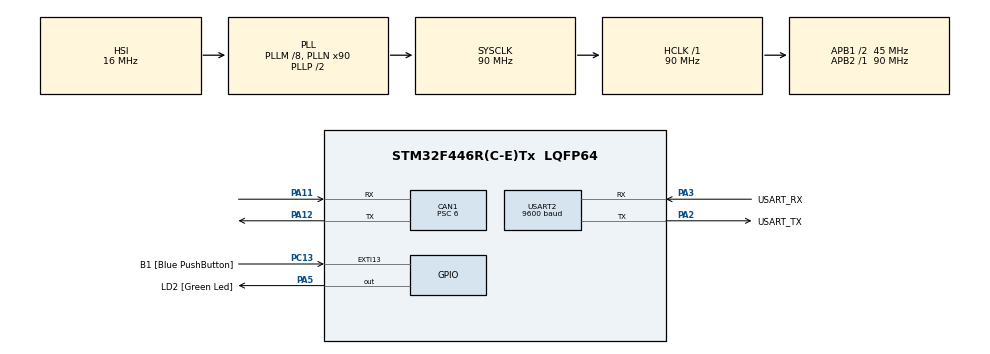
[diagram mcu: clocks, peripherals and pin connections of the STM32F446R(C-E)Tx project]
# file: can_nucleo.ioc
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CAN1.BS1=CAN_BS1_11TQ
CAN1.BS2=CAN_BS2_3TQ
CAN1.CalculateBaudRate=500000
CAN1.CalculateTimeBit=2000
CAN1.CalculateTimeQuantum=133.33333333333331
CAN1.Mode=CAN_MODE_NORMAL
CAN1.NART=ENABLE
CAN1.Prescaler=6
Dma.Request0=USART2_RX
Dma.USART2_RX.0.Direction=DMA_PERIPH_TO_MEMORY
Dma.USART2_RX.0.FIFOMode=DMA_FIFOMODE_DISABLE
Dma.USART2_RX.0.Instance=DMA1_Stream5
Dma.USART2_RX.0.MemDataAlignment=DMA_MDATAALIGN_BYTE
Dma.USART2_RX.0.MemInc=DMA_MINC_ENABLE
Dma.USART2_RX.0.Mode=DMA_NORMAL
Dma.USART2_RX.0.PeriphDataAlignment=DMA_PDATAALIGN_BYTE
Dma.USART2_RX.0.PeriphInc=DMA_PINC_DISABLE
Dma.USART2_RX.0.Priority=DMA_PRIORITY_LOW
Mcu.Family=STM32F4
Mcu.Name=STM32F446R(C-E)Tx
Mcu.Package=LQFP64
NVIC.CAN1_RX0_IRQn=true\:0\:0\:false\:false\:true\:true\:true\:true
NVIC.CAN1_RX1_IRQn=true\:0\:0\:false\:false\:true\:true\:true\:true
NVIC.DMA1_Stream5_IRQn=true\:0\:0\:false\:false\:true\:false\:true\:true
NVIC.PriorityGroup=NVIC_PRIORITYGROUP_0
NVIC.USART2_IRQn=true\:0\:0\:false\:false\:true\:true\:true\:true
PA11.Mode=CAN_Activate
PA11.Signal=CAN1_RX
PA12.Mode=CAN_Activate
PA12.Signal=CAN1_TX
PA13.GPIO_Label=TMS
PA13.Mode=Serial_Wire
PA13.Signal=SYS_JTMS-SWDIO
PA14.GPIO_Label=TCK
PA14.Mode=Serial_Wire
PA14.Signal=SYS_JTCK-SWCLK
PA2.GPIO_Label=USART_TX
PA2.Mode=Asynchronous
PA2.Signal=USART2_TX
PA3.GPIO_Label=USART_RX
PA3.Mode=Asynchronous
PA3.Signal=USART2_RX
PA5.GPIO_Label=LD2 [Green Led]
PA5.Signal=GPIO_Output
PB3.GPIO_Label=SWO
PB3.Signal=SYS_JTDO-SWO
PC13.GPIO_Label=B1 [Blue PushButton]
PC13.GPIO_ModeDefaultEXTI=GPIO_MODE_IT_FALLING
PC13.Signal=GPXTI13
PC14-OSC32_IN.Mode=LSE-External-Oscillator
PC14-OSC32_IN.Signal=RCC_OSC32_IN
PC15-OSC32_OUT.Mode=LSE-External-Oscillator
PC15-OSC32_OUT.Signal=RCC_OSC32_OUT
PH0-OSC_IN.Mode=HSE-External-Oscillator
PH0-OSC_IN.Signal=RCC_OSC_IN
PH1-OSC_OUT.Mode=HSE-External-Oscillator
PH1-OSC_OUT.Signal=RCC_OSC_OUT
ProjectManager.HeapSize=0x200
ProjectManager.StackSize=0x400
ProjectManager.TargetToolchain=STM32CubeIDE
RCC.48MHZClocksFreq_Value=84000000
RCC.AHBFreq_Value=90000000
RCC.APB1CLKDivider=RCC_HCLK_DIV2
RCC.APB1Freq_Value=45000000
RCC.APB1TimFreq_Value=90000000
RCC.APB2Freq_Value=90000000
RCC.APB2TimFreq_Value=90000000
RCC.CortexFreq_Value=90000000
RCC.FLatency-AdvancedSettings=FLASH_LATENCY_2
RCC.HCLKFreq_Value=90000000
RCC.HSE_VALUE=8000000
RCC.HSI_VALUE=16000000
RCC.PLLM=8
RCC.PLLN=90
RCC.SYSCLKFreq_VALUE=90000000
RCC.SYSCLKSource=RCC_SYSCLKSOURCE_PLLCLK
RCC.USBFreq_Value=90000000
RCC.VCOOutputFreq_Value=180000000
USART2.BaudRate=9600
USART2.VirtualMode=VM_ASYNC
board=NUCLEO-F446RE

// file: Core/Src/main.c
/* USER CODE BEGIN Header */
/**
  ******************************************************************************
  * @file           : main.c
  * @brief          : Main program body
  ******************************************************************************
  * @attention
  *
  * Copyright (c) 2025 STMicroelectronics.
  * All rights reserved.
  *
  * This software is licensed under terms that can be found in the LICENSE file
  * in the root directory of this software component.
  * If no LICENSE file comes with this software, it is provided AS-IS.
  *
  ******************************************************************************
  */
/* USER CODE END Header */
#include "main.h"

/* USER CODE BEGIN Includes */
#include <string.h>
#include <stdbool.h>

#define CMD_TOKEN 0x42
#define CMD_VER   0x01

/* USER CODE END Includes */

/* USER CODE BEGIN PD */
#define DMA_RX_BUFFER_SIZE 256
#define GPS_PROCESS_BUFFER_SIZE 256
/* USER CODE END PD */

CAN_HandleTypeDef hcan1;

UART_HandleTypeDef huart2;
DMA_HandleTypeDef hdma_usart2_rx;

/* USER CODE BEGIN PV */
uint8_t g_dma_rx_buffer[DMA_RX_BUFFER_SIZE];
uint8_t g_gps_process_buffer[GPS_PROCESS_BUFFER_SIZE];
volatile uint8_t g_gps_data_ready = 0;
volatile uint16_t g_gps_data_size = 0;

int32_t lat_e5 = 0; // Широта * 100000
int32_t lon_e5 = 0; // Довгота * 100000
uint8_t sats_view = 0;
uint8_t fix_status = 0;
/* USER CODE END PV */

void SystemClock_Config(void);
static void MX_GPIO_Init(void);
static void MX_DMA_Init(void);
static void MX_USART2_UART_Init(void);
static void MX_CAN1_Init(void);

/* USER CODE BEGIN 0 */
//CAN_TxHeaderTypeDef TxHeader;
//CAN_RxHeaderTypeDef RxHeader;
//
//uint32_t TxMailbox[4];
//
//uint8_t TxData[8];
//uint8_t RxData[8];
//
uint8_t count = 0;

// TX буфери
CAN_TxHeaderTypeDef A_TxHeader;
CAN_RxHeaderTypeDef A_RxHeader;
uint32_t A_TxMailbox;
uint8_t  A_TxData[8];
uint8_t A_RxData[8];

// “GPS”

uint32_t tick_tlm  = 0;
uint32_t tick_hb   = 0;
uint32_t tick_cmd  = 0;

static uint8_t cmd_seq = 0;

uint8_t crc8(const uint8_t *data, uint8_t len)
{
    uint8_t crc = 0x00;
    const uint8_t poly = 0x07; // x^8 + x^2 + x + 1

    for (uint8_t i = 0; i < len; i++)
    {
        crc ^= data[i];
        for (uint8_t b = 0; b < 8; b++)
        {
            if (crc & 0x80)
                crc = (crc << 1) ^ poly;
            else
                crc <<= 1;
        }
    }
    return crc;
}

void A_Send_TLM120(void)
{
    uint32_t lat24 = ((uint32_t)lat_e5) & 0xFFFFFF;
    uint32_t lon24 = ((uint32_t)lon_e5) & 0xFFFFFF;

    A_TxHeader.StdId = 0x120;
    A_TxHeader.ExtId = 0;
    A_TxHeader.IDE   = CAN_ID_STD;
    A_TxHeader.RTR   = CAN_RTR_DATA;
    A_TxHeader.DLC   = 8;
    A_TxHeader.TransmitGlobalTime = DISABLE;

    A_TxData[0] = (lat24 >> 16) & 0xFF;
    A_TxData[1] = (lat24 >> 8) & 0xFF;
    A_TxData[2] = (lat24) & 0xFF;

    A_TxData[3] = (lon24 >> 16) & 0xFF;
    A_TxData[4] = (lon24 >> 8) & 0xFF;
    A_TxData[5] = (lon24) & 0xFF;

    A_TxData[6] = sats_view;
    A_TxData[7] = fix_status;

    HAL_CAN_AddTxMessage(&hcan1, &A_TxHeader, A_TxData, &A_TxMailbox);
}

// HB A: 0x081 (1 байт статусу)
void A_Send_HB081(void)
{
    A_TxHeader.StdId = 0x081;
    A_TxHeader.ExtId = 0;
    A_TxHeader.IDE   = CAN_ID_STD;
    A_TxHeader.RTR   = CAN_RTR_DATA;
    A_TxHeader.DLC   = 1;
    A_TxHeader.TransmitGlobalTime = DISABLE;

    A_TxData[0] = 0xA1;

    HAL_CAN_AddTxMessage(&hcan1, &A_TxHeader, A_TxData, &A_TxMailbox);
}

// НОРМАЛЬНА команда 0x040 з валідним CRC/Token
void A_Send_CMD_Normal(uint8_t cmd_id, uint8_t arg0, uint8_t arg1, uint8_t arg2)
{
    A_TxHeader.StdId = 0x040;
    A_TxHeader.ExtId = 0;
    A_TxHeader.IDE   = CAN_ID_STD;
    A_TxHeader.RTR   = CAN_RTR_DATA;
    A_TxHeader.DLC   = 8;
    A_TxHeader.TransmitGlobalTime = DISABLE;

    A_TxData[0] = cmd_id;
    A_TxData[1] = arg0;
    A_TxData[2] = arg1;
    A_TxData[3] = arg2;
    A_TxData[4] = CMD_TOKEN;
    A_TxData[5] = cmd_seq;
    A_TxData[7] = CMD_VER;

    uint8_t tmp[7];
    memcpy(tmp, A_TxData, 6); // 0..5
    tmp[6] = A_TxData[7];     // Ver
    A_TxData[6] = crc8(tmp, 7);

    HAL_CAN_AddTxMessage(&hcan1, &A_TxHeader, A_TxData, &A_TxMailbox);

    cmd_seq++;
}

// ФАЛЬШИВА команда (поганий Token/CRC) – для Red-team тесту
void A_Send_CMD_Fake(void)
{
    A_TxHeader.StdId = 0x040;
    A_TxHeader.ExtId = 0;
    A_TxHeader.IDE   = CAN_ID_STD;
    A_TxHeader.RTR   = CAN_RTR_DATA;
    A_TxHeader.DLC   = 8;
    A_TxHeader.TransmitGlobalTime = DISABLE;

    A_TxData[0] = 0x10;
    A_TxData[1] = 0xAA;
    A_TxData[2] = 0xBB;
    A_TxData[3] = 0xCC;
    A_TxData[4] = 0x99;    // неправильний Token
    A_TxData[5] = cmd_seq;
    A_TxData[7] = CMD_VER;
    A_TxData[6] = 0x00;    // спеціально кривий CRC

    HAL_CAN_AddTxMessage(&hcan1, &A_TxHeader, A_TxData, &A_TxMailbox);

    cmd_seq++;
}

void HAL_CAN_RxFifo0MsgPendingCallback(CAN_HandleTypeDef *hcan)
{
	HAL_CAN_GetRxMessage(hcan, CAN_RX_FIFO0, &A_RxHeader, A_RxData);
	count++;
    HAL_GPIO_TogglePin(LD2_GPIO_Port, LD2_Pin);
}
/* USER CODE END 0 */

int main(void)
{

  /* MCU Configuration--------------------------------------------------------*/

  /* Reset of all peripherals, Initializes the Flash interface and the Systick. */
  HAL_Init();

  /* Configure the system clock */
  SystemClock_Config();

  /* Initialize all configured peripherals */
  MX_GPIO_Init();
  MX_DMA_Init();
  MX_USART2_UART_Init();
  MX_CAN1_Init();
  /* USER CODE BEGIN 2 */
  if(HAL_UARTEx_ReceiveToIdle_DMA(&huart2, g_dma_rx_buffer, DMA_RX_BUFFER_SIZE) != HAL_OK) {
	  Error_Handler();
  }
  __HAL_DMA_DISABLE_IT(huart2.hdmarx, DMA_IT_HT);
//  __HAL_CAN_CLEAR_FLAG(&hcan1, CAN_FLAG_WKU);
  if (HAL_CAN_Start(&hcan1) != HAL_OK) {
      Error_Handler();
  }
//  HAL_CAN_ActivateNotification(&hcan1, CAN_IT_RX_FIFO0_MSG_PENDING);
//  	TxHeader.DLC = 1; // 1 байт даних
//    TxHeader.ExtId = 0;
//    TxHeader.IDE = CAN_ID_STD;
//    TxHeader.RTR = CAN_RTR_DATA;
//    TxHeader.TransmitGlobalTime = DISABLE;
//
//    TxData[0] = 0xAA; // Тестові дані

//  TxHeader.DLC = 8; // Згідно з док. 8 байт (CmdID|...|CRC8) [cite: 22, 25]
//    TxHeader.ExtId = 0;
//    TxHeader.IDE = CAN_ID_STD;
//    TxHeader.RTR = CAN_RTR_DATA;
//    TxHeader.StdId = 0x040; // ID для CMD (Команди)
//    TxHeader.TransmitGlobalTime = DISABLE;
//
//    // "Фейкові" дані команди [cite: 25]
//    TxData[0] = 0x01; // CmdID
//    TxData[1] = 0x0A; // Arg0
//    TxData[2] = 0x0B; // Arg1
//    TxData[3] = 0x0C; // Arg2
//    TxData[4] = 0x44; // Token
//    TxData[5] = 0x01; // Seq
//    TxData[6] = 0xAB; // CRC8
//    TxData[7] = 0x01; // Ver
//  TxHeader.DLC = 1;
//  TxHeader.ExtId = 0;
//  TxHeader.IDE = CAN_ID_STD;
//  TxHeader.RTR = CAN_RTR_DATA;
//  TxHeader.StdId = 0x111;
//  TxHeader.TransmitGlobalTime = DISABLE;
//
//  TxData[0] = 0x01;
//  TxData[1] = 0x02;
//  TxData[2] = 0x03;
//  TxData[3] = 0x04;
//
//  if (HAL_CAN_AddTxMessage(&hcan1, &TxHeader, &TxData[0], &TxMailbox[0]) != HAL_OK)
//  {
//	  Error_Handler();
//  }
//  if (HAL_CAN_AddTxMessage(&hcan1, &TxHeader, &TxData[1], &TxMailbox[1]) != HAL_OK)
//  {
//	  Error_Handler();
//  }
//  if (HAL_CAN_AddTxMessage(&hcan1, &TxHeader, &TxData[2], &TxMailbox[2]) != HAL_OK)
//  {
//	  Error_Handler();
//  }
//  if (HAL_CAN_AddTxMessage(&hcan1, &TxHeader, &TxData[3], &TxMailbox[3]) != HAL_OK)
//  {
//	  Error_Handler();
//  }

  /* USER CODE END 2 */

  /* Infinite loop */
  while (1)
  {

    /* USER CODE BEGIN 3 */
	  if (g_gps_data_ready) {
	          char* line = strtok((char*)g_gps_process_buffer, "\r\n");

	          while (line != NULL)
	          {
	              // Шукаємо рядки GNGGA або GPGGA
	              if (strncmp(line, "$GNGGA", 6) == 0 || strncmp(line, "$GPGGA", 6) == 0) {
	                  float nmea_time, nmea_lat, nmea_lon, altitude;
	                  char lat_dir, lon_dir;
	                  int fix_quality, num_sats;

	                  // Знаходимо початок даних (після коми)
	                  const char* data_start = strchr(line, ',');
	                  if (data_start) {
	                      // Парсимо рядок
	                      int items = sscanf(data_start + 1, "%f,%f,%c,%f,%c,%d,%d,%*f,%f,",
	                                         &nmea_time, &nmea_lat, &lat_dir, &nmea_lon, &lon_dir,
	                                         &fix_quality, &num_sats, &altitude);

	                      if (items >= 7 && fix_quality > 0) {
	                          // 1. Конвертуємо координати з формату NMEA (ddmm.mmmm) в десяткові градуси (dd.ddddd)
	                          int lat_deg_int = (int)(nmea_lat / 100);
	                          float lat_min = nmea_lat - (lat_deg_int * 100);
	                          float lat_decimal = lat_deg_int + (lat_min / 60.0f);
	                          if (lat_dir == 'S') lat_decimal = -lat_decimal;

	                          int lon_deg_int = (int)(nmea_lon / 100);
	                          float lon_min = nmea_lon - (lon_deg_int * 100);
	                          float lon_decimal = lon_deg_int + (lon_min / 60.0f);
	                          if (lon_dir == 'W') lon_decimal = -lon_decimal;

	                          // 2. Оновлюємо глобальні змінні для CAN (формат: * 100000)
	                          lat_e5 = (int32_t)(lat_decimal * 100000.0f);
	                          lon_e5 = (int32_t)(lon_decimal * 100000.0f);
	                          sats_view = (uint8_t)num_sats;
	                          fix_status = (uint8_t)fix_quality; // 1 = GPS fix, 2 = DGPS fix
	                      } else {
	                           // Якщо фіксу немає, можна слати нулі або статус помилки
	                           fix_status = 0;
	                      }
	                  }
	              }
	              line = strtok(NULL, "\r\n"); // Наступний рядок
	          }
	          g_gps_data_ready = 0;
	      }
	  uint32_t now = HAL_GetTick();

	  // 10 Гц – 0x120
	  if (now - tick_tlm >= 10)
	  {
	      tick_tlm += 100;          // стабільніший період, ніж tick_tlm = now;
	      A_Send_TLM120();
	  }

	  // 1 Гц – HB 0x081
	  if (now - tick_hb >= 1000)
	  {
	      tick_hb += 1000;
	      A_Send_HB081();
	  }

	  // ~раз на 2.7 с – CMD (не кратно 1000, щоб фази “плавали”)
	  if (now - tick_cmd >= 2700)
	  {
	      tick_cmd += 2700;
//	      A_Send_CMD_Normal(0x10, 1, 2, 3);
	      A_Send_CMD_Fake();
	      // або A_Send_CMD_Fake();
	  }
  }
  /* USER CODE END 3 */
}

void SystemClock_Config(void)
{
  RCC_OscInitTypeDef RCC_OscInitStruct = {0};
  RCC_ClkInitTypeDef RCC_ClkInitStruct = {0};

  /** Configure the main internal regulator output voltage
  */
  __HAL_RCC_PWR_CLK_ENABLE();
  __HAL_PWR_VOLTAGESCALING_CONFIG(PWR_REGULATOR_VOLTAGE_SCALE3);

  /** Initializes the RCC Oscillators according to the specified parameters
  * in the RCC_OscInitTypeDef structure.
  */
  RCC_OscInitStruct.OscillatorType = RCC_OSCILLATORTYPE_HSI;
  RCC_OscInitStruct.HSIState = RCC_HSI_ON;
  RCC_OscInitStruct.HSICalibrationValue = RCC_HSICALIBRATION_DEFAULT;
  RCC_OscInitStruct.PLL.PLLState = RCC_PLL_ON;
  RCC_OscInitStruct.PLL.PLLSource = RCC_PLLSOURCE_HSI;
  RCC_OscInitStruct.PLL.PLLM = 8;
  RCC_OscInitStruct.PLL.PLLN = 90;
  RCC_OscInitStruct.PLL.PLLP = RCC_PLLP_DIV2;
  RCC_OscInitStruct.PLL.PLLQ = 2;
  RCC_OscInitStruct.PLL.PLLR = 2;
  if (HAL_RCC_OscConfig(&RCC_OscInitStruct) != HAL_OK)
  {
    Error_Handler();
  }

  /** Initializes the CPU, AHB and APB buses clocks
  */
  RCC_ClkInitStruct.ClockType = RCC_CLOCKTYPE_HCLK|RCC_CLOCKTYPE_SYSCLK
                              |RCC_CLOCKTYPE_PCLK1|RCC_CLOCKTYPE_PCLK2;
  RCC_ClkInitStruct.SYSCLKSource = RCC_SYSCLKSOURCE_PLLCLK;
  RCC_ClkInitStruct.AHBCLKDivider = RCC_SYSCLK_DIV1;
  RCC_ClkInitStruct.APB1CLKDivider = RCC_HCLK_DIV2;
  RCC_ClkInitStruct.APB2CLKDivider = RCC_HCLK_DIV1;

  if (HAL_RCC_ClockConfig(&RCC_ClkInitStruct, FLASH_LATENCY_2) != HAL_OK)
  {
    Error_Handler();
  }
}

static void MX_CAN1_Init(void)
{

  hcan1.Instance = CAN1;
  hcan1.Init.Prescaler = 6;
  hcan1.Init.Mode = CAN_MODE_NORMAL;
  hcan1.Init.SyncJumpWidth = CAN_SJW_1TQ;
  hcan1.Init.TimeSeg1 = CAN_BS1_11TQ;
  hcan1.Init.TimeSeg2 = CAN_BS2_3TQ;
  hcan1.Init.TimeTriggeredMode = DISABLE;
  hcan1.Init.AutoBusOff = DISABLE;
  hcan1.Init.AutoWakeUp = DISABLE;
  hcan1.Init.AutoRetransmission = ENABLE;
  hcan1.Init.ReceiveFifoLocked = DISABLE;
  hcan1.Init.TransmitFifoPriority = DISABLE;
  if (HAL_CAN_Init(&hcan1) != HAL_OK)
  {
    Error_Handler();
  }
  /* USER CODE BEGIN CAN1_Init 2 */
  CAN_FilterTypeDef canfilterconfig;

  canfilterconfig.FilterActivation = CAN_FILTER_ENABLE;
  canfilterconfig.FilterBank = 0;
  canfilterconfig.FilterFIFOAssignment = CAN_RX_FIFO0;

  canfilterconfig.FilterMode = CAN_FILTERMODE_IDMASK;
  canfilterconfig.FilterScale = CAN_FILTERSCALE_32BIT;

  canfilterconfig.FilterIdHigh = (0x0000 << 5);
  canfilterconfig.FilterIdLow = 0x0000;

  canfilterconfig.FilterMaskIdHigh = (0x0700 << 5);
  canfilterconfig.FilterMaskIdLow = 0x0000;

  canfilterconfig.SlaveStartFilterBank = 14;

  if (HAL_CAN_ConfigFilter(&hcan1, &canfilterconfig) != HAL_OK)
  {
      Error_Handler();
  }
  /* USER CODE END CAN1_Init 2 */

}

static void MX_USART2_UART_Init(void)
{

  huart2.Instance = USART2;
  huart2.Init.BaudRate = 9600;
  huart2.Init.WordLength = UART_WORDLENGTH_8B;
  huart2.Init.StopBits = UART_STOPBITS_1;
  huart2.Init.Parity = UART_PARITY_NONE;
  huart2.Init.Mode = UART_MODE_TX_RX;
  huart2.Init.HwFlowCtl = UART_HWCONTROL_NONE;
  huart2.Init.OverSampling = UART_OVERSAMPLING_16;
  if (HAL_UART_Init(&huart2) != HAL_OK)
  {
    Error_Handler();
  }

}

static void MX_DMA_Init(void)
{

  /* DMA controller clock enable */
  __HAL_RCC_DMA1_CLK_ENABLE();

  /* DMA interrupt init */
  /* DMA1_Stream5_IRQn interrupt configuration */
  HAL_NVIC_SetPriority(DMA1_Stream5_IRQn, 0, 0);
  HAL_NVIC_EnableIRQ(DMA1_Stream5_IRQn);

}

static void MX_GPIO_Init(void)
{
  GPIO_InitTypeDef GPIO_InitStruct = {0};

  /* GPIO Ports Clock Enable */
  __HAL_RCC_GPIOC_CLK_ENABLE();
  __HAL_RCC_GPIOH_CLK_ENABLE();
  __HAL_RCC_GPIOA_CLK_ENABLE();
  __HAL_RCC_GPIOB_CLK_ENABLE();

  /*Configure GPIO pin Output Level */
  HAL_GPIO_WritePin(LD2_GPIO_Port, LD2_Pin, GPIO_PIN_RESET);

  /*Configure GPIO pin : B1_Pin */
  GPIO_InitStruct.Pin = B1_Pin;
  GPIO_InitStruct.Mode = GPIO_MODE_IT_FALLING;
  GPIO_InitStruct.Pull = GPIO_NOPULL;
  HAL_GPIO_Init(B1_GPIO_Port, &GPIO_InitStruct);

  /*Configure GPIO pin : LD2_Pin */
  GPIO_InitStruct.Pin = LD2_Pin;
  GPIO_InitStruct.Mode = GPIO_MODE_OUTPUT_PP;
  GPIO_InitStruct.Pull = GPIO_NOPULL;
  GPIO_InitStruct.Speed = GPIO_SPEED_FREQ_LOW;
  HAL_GPIO_Init(LD2_GPIO_Port, &GPIO_InitStruct);

}

/* USER CODE BEGIN 4 */
void HAL_UARTEx_RxEventCallback(UART_HandleTypeDef *huart, uint16_t Size) {
    if (huart->Instance == USART2) {
        // Копіюємо отримані дані в буфер обробки
        if (Size > 0 && Size < GPS_PROCESS_BUFFER_SIZE) {
            memcpy(g_gps_process_buffer, g_dma_rx_buffer, Size);
            g_gps_process_buffer[Size] = '\0'; // Завершуємо рядок
            g_gps_data_size = Size;
            g_gps_data_ready = 1; // Прапорець: дані готові до парсингу
        }

        // Перезапускаємо DMA на прийом
        HAL_UARTEx_ReceiveToIdle_DMA(&huart2, g_dma_rx_buffer, DMA_RX_BUFFER_SIZE);
        __HAL_DMA_DISABLE_IT(huart2.hdmarx, DMA_IT_HT); // Вимикаємо переривання половини буфера
    }
}
/* USER CODE END 4 */

void Error_Handler(void)
{
  __disable_irq();
  while (1)
  {
  }
}
